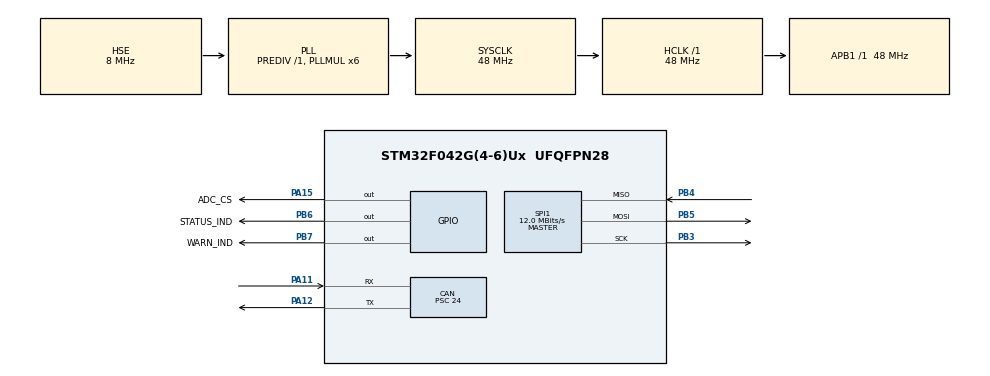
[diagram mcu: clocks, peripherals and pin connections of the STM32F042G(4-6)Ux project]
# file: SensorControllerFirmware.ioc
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CAN.BS1=CAN_BS1_2TQ
CAN.CalculateBaudRate=500000
CAN.CalculateTimeBit=2000
CAN.CalculateTimeQuantum=500.0
CAN.Prescaler=24
Dma.Request0=SPI1_RX
Dma.Request1=SPI1_TX
Dma.SPI1_RX.0.Direction=DMA_PERIPH_TO_MEMORY
Dma.SPI1_RX.0.Instance=DMA1_Channel2
Dma.SPI1_RX.0.MemDataAlignment=DMA_MDATAALIGN_HALFWORD
Dma.SPI1_RX.0.MemInc=DMA_MINC_ENABLE
Dma.SPI1_RX.0.Mode=DMA_NORMAL
Dma.SPI1_RX.0.PeriphDataAlignment=DMA_PDATAALIGN_HALFWORD
Dma.SPI1_RX.0.PeriphInc=DMA_PINC_DISABLE
Dma.SPI1_RX.0.Priority=DMA_PRIORITY_LOW
Dma.SPI1_TX.1.Direction=DMA_MEMORY_TO_PERIPH
Dma.SPI1_TX.1.Instance=DMA1_Channel3
Dma.SPI1_TX.1.MemDataAlignment=DMA_MDATAALIGN_HALFWORD
Dma.SPI1_TX.1.MemInc=DMA_MINC_ENABLE
Dma.SPI1_TX.1.Mode=DMA_NORMAL
Dma.SPI1_TX.1.PeriphDataAlignment=DMA_PDATAALIGN_HALFWORD
Dma.SPI1_TX.1.PeriphInc=DMA_PINC_DISABLE
Dma.SPI1_TX.1.Priority=DMA_PRIORITY_LOW
Mcu.Family=STM32F0
Mcu.Name=STM32F042G(4-6)Ux
Mcu.Package=UFQFPN28
NVIC.CEC_CAN_IRQn=true\:1\:0\:true\:false\:true\:true\:true\:true
NVIC.DMA1_Channel2_3_IRQn=true\:0\:0\:true\:false\:true\:false\:true\:true
NVIC.SPI1_IRQn=true\:0\:0\:true\:false\:true\:true\:true\:true
NVIC.TIM14_IRQn=true\:3\:0\:true\:false\:true\:true\:true\:true
NVIC.TIM2_IRQn=true\:0\:0\:false\:false\:true\:true\:true\:true
NVIC.TIM3_IRQn=true\:0\:0\:false\:false\:true\:true\:true\:true
PA11.Mode=CAN_Activate
PA11.Signal=CAN_RX
PA12.Mode=CAN_Activate
PA12.Signal=CAN_TX
PA13.Mode=Serial_Wire
PA13.Signal=SYS_SWDIO
PA14.Mode=Serial_Wire
PA14.Signal=SYS_SWCLK
PA15.GPIO_Label=ADC_CS
PA15.GPIO_Speed=GPIO_SPEED_FREQ_HIGH
PA15.PinState=GPIO_PIN_SET
PA15.Signal=GPIO_Output
PB3.Mode=Full_Duplex_Master
PB3.Signal=SPI1_SCK
PB4.Mode=Full_Duplex_Master
PB4.Signal=SPI1_MISO
PB5.Mode=Full_Duplex_Master
PB5.Signal=SPI1_MOSI
PB6.GPIO_Label=STATUS_IND
PB6.Signal=GPIO_Output
PB7.GPIO_Label=WARN_IND
PB7.Signal=GPIO_Output
PF0-OSC_IN.Mode=HSE-External-Oscillator
PF0-OSC_IN.Signal=RCC_OSC_IN
PF1-OSC_OUT.Mode=HSE-External-Oscillator
PF1-OSC_OUT.Signal=RCC_OSC_OUT
ProjectManager.HeapSize=0x400
ProjectManager.StackSize=0x800
ProjectManager.TargetToolchain=STM32CubeIDE
RCC.AHBFreq_Value=48000000
RCC.APB1Freq_Value=48000000
RCC.APB1TimFreq_Value=48000000
RCC.HCLKFreq_Value=48000000
RCC.PLLMUL=RCC_PLL_MUL6
RCC.PLLSourceVirtual=RCC_PLLSOURCE_HSE
RCC.SYSCLKFreq_VALUE=48000000
RCC.SYSCLKSource=RCC_SYSCLKSOURCE_PLLCLK
SPI1.BaudRatePrescaler=SPI_BAUDRATEPRESCALER_4
SPI1.CLKPhase=SPI_PHASE_2EDGE
SPI1.CalculateBaudRate=12.0 MBits/s
SPI1.DataSize=SPI_DATASIZE_16BIT
SPI1.Direction=SPI_DIRECTION_2LINES
SPI1.Mode=SPI_MODE_MASTER
SPI1.TIMode=SPI_TIMODE_DISABLE
SPI1.VirtualType=VM_MASTER
TIM14.Period=47999
TIM14.Prescaler=99
TIM2.Period=0
TIM2.Prescaler=63999
TIM3.Period=0
TIM3.Prescaler=63999
VP_SYS_VS_PINREMAP.Mode=PINREMAP
VP_TIM14_VS_ClockSourceINT.Mode=Enable_Timer
VP_TIM2_VS_ClockSourceINT.Mode=Internal
VP_TIM3_VS_ClockSourceINT.Mode=Internal
board=custom

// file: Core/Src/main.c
/* USER CODE BEGIN Header */
/**
  ******************************************************************************
  * @file           : main.c
  * @brief          : Main program body
  ******************************************************************************
  * @attention
  *
  * Copyright (c) 2024 STMicroelectronics.
  * All rights reserved.
  *
  * This software is licensed under terms that can be found in the LICENSE file
  * in the root directory of this software component.
  * If no LICENSE file comes with this software, it is provided AS-IS.
  *
  ******************************************************************************
  */
/* USER CODE END Header */
#include "main.h"

/* USER CODE BEGIN Includes */
#include "ADS1118.h"
#include <memory.h>
#include "config/config.h"
#include "config/pt_config.h"
#include "utils/board_utils.h"
#include "utils/can_utils.h"
#include "stdbool.h"
/* USER CODE END Includes */

/* USER CODE BEGIN PD */
#define TX_ID 0x110

#define ENDPOINT_TEMPERATURE 15
#define ENDPOINT_LED 23
#define ENDPOINT_CALIBRATION 97
/* USER CODE END PD */

CAN_HandleTypeDef hcan;

SPI_HandleTypeDef hspi1;
DMA_HandleTypeDef hdma_spi1_rx;
DMA_HandleTypeDef hdma_spi1_tx;

TIM_HandleTypeDef htim2;
TIM_HandleTypeDef htim3;
TIM_HandleTypeDef htim14;

/* USER CODE BEGIN PV */
PtConfig* PT_A = NULL;
PtConfig* PT_B = NULL;
Ads1118TypeDef adc;
volatile uint8_t start_read_adc = 0;
volatile uint8_t adc_read_cplt = 0;
uint32_t board_id[3];
static uint8_t short_board_id;
bool flash_signal_cmd = 0;
bool adc_reading = false;
bool port_a_read_cplt = false;
bool port_b_read_cplt = false;
bool send_port_a = false;
bool send_port_b = false;
float port_a_val = 0.0f;
float port_b_val = 0.0f;
uint16_t port_a_config = (ADS1118_CONFIG_DEFAULT | (0b101 << ADS1118_CONFIG_BIT_MUX) | (1 << ADS1118_CONFIG_BIT_SS) | (0b000 << 9)) & 0xFBFF;
uint16_t port_b_config = (ADS1118_CONFIG_DEFAULT | (0b111 << ADS1118_CONFIG_BIT_MUX) | (1 << ADS1118_CONFIG_BIT_SS) | (0b000 << 9)) & 0xFBFF;
uint16_t port_a_rx_buf[] = {0, 0};
uint16_t port_b_rx_buf[] = {0, 0};
float v_fs = 5.0f;
float v_range = 4.5f;
uint8_t tx_data[8];
/* USER CODE END PV */

void SystemClock_Config(void);
static void MX_GPIO_Init(void);
static void MX_DMA_Init(void);
static void MX_CAN_Init(void);
static void MX_SPI1_Init(void);
static void MX_TIM14_Init(void);
static void MX_TIM2_Init(void);
static void MX_TIM3_Init(void);
/* USER CODE BEGIN PFP */
uint32_t frequency_to_period_ms(uint32_t frequency);
static void GET_PORT_A_READING(uint16_t config);
static void GET_PORT_B_READING(uint16_t config);
static float CONVERT_ADC_READING(PtConfig *pt, int16_t raw_val);
static void INSERT_FLOAT_TO_TX_DATA(float val);
/* USER CODE END PFP */

/* USER CODE BEGIN 0 */
void send_pt_status_can(uint16_t adc_val, uint8_t short_board_id, CAN_HandleTypeDef* hcan, uint8_t instance_val) {
	uint8_t status_bytes[2];
	uint8_t temp_raw[2];

	memcpy(temp_raw, &adc_val, sizeof(adc_val));
	status_bytes[0] = temp_raw[1];
	status_bytes[1] = temp_raw[0];

	uint8_t sender_id = short_board_id;
    uint8_t target_board_id = SENDER_PAD_CONTROLLER;
    uint8_t msg_type_val = MSG_TYPE_PRESSURE; // Using existing general servo type

    uint32_t base_ext_id_32bit_shifted = build_can_extended_id(sender_id, target_board_id, msg_type_val, instance_val);
    uint32_t base_ext_id_29bit = base_ext_id_32bit_shifted >> 3;
    uint32_t ack_ext_id_29bit = base_ext_id_29bit | CAN_ID_ACK_FLAG_29BIT;
    uint32_t final_ext_id_32bit_shifted_for_send = ack_ext_id_29bit << 3;

    HAL_StatusTypeDef status = send_can_msg(final_ext_id_32bit_shifted_for_send, status_bytes, 2, hcan);

    if (status != HAL_OK) {
        // Handle CAN send error
    }
}
/* USER CODE END 0 */

int main(void)
{

  /* MCU Configuration--------------------------------------------------------*/

  /* Reset of all peripherals, Initializes the Flash interface and the Systick. */
  HAL_Init();

  /* Configure the system clock */
  SystemClock_Config();

  /* Initialize all configured peripherals */
  MX_GPIO_Init();
  MX_DMA_Init();
  MX_CAN_Init();
  MX_SPI1_Init();
  MX_TIM14_Init();
  MX_TIM2_Init();
  MX_TIM3_Init();
  /* USER CODE BEGIN 2 */
  GET_BOARD_UID(board_id);
  short_board_id = GET_SHORT_BOARD_ID(board_id);

  CAN_FilterTypeDef filter;
  filter.FilterActivation = CAN_FILTER_ENABLE;
  filter.FilterBank = 0;
  filter.FilterFIFOAssignment = CAN_FILTER_FIFO0;
  filter.FilterMode = CAN_FILTERMODE_IDMASK;
  filter.FilterScale = CAN_FILTERSCALE_32BIT;

  uint32_t canIdFilter = ((uint32_t)short_board_id << 16);
  canIdFilter |= CAN_ID_EXT;
  uint32_t canIdMask = (0xFFUL << 16);
  canIdMask |= CAN_ID_EXT;
  canIdMask |= CAN_RTR_DATA;
  canIdMask |= (1UL << 31);
  filter.FilterIdHigh = (uint16_t)(canIdFilter >> 16);
  filter.FilterIdLow = (uint16_t)(canIdFilter & 0xFFFF);
  filter.FilterMaskIdHigh = (uint16_t)(canIdMask >> 16);
  filter.FilterMaskIdLow = (uint16_t)(canIdMask & 0xFFFF);

//  filter.FilterIdHigh = (uint16_t)(0x0000);
//  filter.FilterIdLow = (uint16_t)(0x0000);
//  filter.FilterMaskIdHigh = (uint16_t)(0x0000);
//  filter.FilterMaskIdLow = (uint16_t)(0x0000);

    if (HAL_CAN_ConfigFilter(&hcan, &filter) != HAL_OK) {
        Error_Handler();
    }

    if (HAL_CAN_ActivateNotification(&hcan, CAN_IT_RX_FIFO0_MSG_PENDING)) {
      Error_Handler();
    };

    if (HAL_CAN_Start(&hcan) != HAL_OK) {
        Error_Handler();
    }

    STATUS_IND_Toggle();
    HAL_Delay(500);
    STATUS_IND_Toggle();
    HAL_Delay(1000);

  // Configure ADC
  adc.hspi = &hspi1;
  adc.cs_gpio_port = ADC_CS_GPIO_Port;
  adc.cs_pin = ADC_CS_Pin;
  adc.config = port_a_config;
  Ads1118_Configure(&adc);

//  get both pt can ids
  uint32_t pt_1_can_id = GET_PT_CAN_ID(board_id, 1);
  uint32_t pt_2_can_id = GET_PT_CAN_ID(board_id, 2);

  htim2.Init.Period = 0;
  htim3.Init.Period = 0;

  if (pt_1_can_id != -1) {
//	  set pt_1 to either A or B based on its config
	  PtConfig* tempPtConfig = GET_PT_CONFIG(pt_1_can_id);
	  if (tempPtConfig->port == 'A') {
		  PT_A = tempPtConfig;
		  htim2.Init.Period = frequency_to_period_ms(PT_A->frequency);
	  }
	  else if (tempPtConfig->port == 'B') {
		  PT_B = tempPtConfig;
		  htim3.Init.Period = frequency_to_period_ms(PT_B->frequency);
	  }
  }

  if (pt_2_can_id != -1) {
//	  set pt_2 to either A or B based on its config
	  PtConfig* tempPtConfig = GET_PT_CONFIG(pt_2_can_id);
	  if (tempPtConfig->port == 'A') {
		  PT_A = tempPtConfig;
		  htim2.Init.Period = frequency_to_period_ms(PT_A->frequency);
	  }
	  else if (tempPtConfig->port == 'B') {
		  PT_B = tempPtConfig;
		  htim3.Init.Period = frequency_to_period_ms(PT_B->frequency);
	  }
  }
  // Start peripherals
//  HAL_ADC_Start(&hadc);
  HAL_TIM_Base_Start_IT(&htim14);

//  set timer 2 to interrupt at PT_A frequency
  if (htim2.Init.Period != 0) {
	  HAL_TIM_Base_Init(&htim2);
	  HAL_TIM_Base_Start_IT(&htim2);
  }
//  set timer 3 to interrupt at PT_B frequency
  if (htim3.Init.Period != 0) {
  	  HAL_TIM_Base_Init(&htim3);
  	  HAL_TIM_Base_Start_IT(&htim3);
    }
  /* USER CODE END 2 */

  /* Infinite loop */
  /* USER CODE BEGIN WHILE */
//  int16_t buf[] = { 0, 0 };
//  float res = 0.0f;

  uint8_t wasA = 0; // Start with Port A attempt
   bool port_a_is_active = (PT_A != NULL && htim2.Init.Period != 0);
   bool port_b_is_active = (PT_B != NULL && htim3.Init.Period != 0);
 while (1)
  {
//      if (adc_read_cplt && (!HAL_GPIO_ReadPin(GPIOB, GPIO_PIN_4))) {
//    	  // Update ADC config readback
//    	  adc.config_readback = buf[1];
//
//    	   Send measurement over CAN
//          res = (v_fs/(0x7FFF))*(float)buf[0]; // Convert from ADC output to voltage
//          res = 251.493315f * res - 122.744008;
//          send_can_msg((uint8_t*)(&res), sizeof(res));
//
//          adc_read_cplt = 0;
//      }
//
//      if (start_read_adc) {
//    	  // Start new single shot
//        if (Ads1118_Transmit(&adc, (uint32_t*)&buf) != HAL_OK) {
//          Error_Handler();
//        }
//
//         start_read_adc = 0;
//      }

	 if (!wasA) { // Attempt to read Port A
		 if (port_a_is_active) {
			 GET_PORT_A_READING(port_a_config);
		 } else if (port_b_is_active) { // If A is not active but B is, switch to B
			 wasA = 1; // Next iteration will try B
			 // GET_PORT_B_READING(port_b_config); // Or try immediately
		 }
		 // If neither is active, it will do nothing here until flags are set by other means
	 } else { // wasA == 1, Attempt to read Port B
		 if (port_b_is_active) {
			 GET_PORT_B_READING(port_b_config);
		 } else {
			 // Port B is not active, so switch back to A logic
			 wasA = 0;
		 }
	 }

	 if (flash_signal_cmd) {
		 flash_signal_cmd = Tick_SIGNAL(flash_signal_cmd); // Assuming Tick_SIGNAL handles its own logic
	 }

	 if (send_port_a) {
		 if (port_a_is_active) { // Ensure PT_A is valid before using
//			 float data = CONVERT_ADC_READING(PT_A, port_a_val);
//			 INSERT_FLOAT_TO_TX_DATA(data);
//			 // Assuming pt_1_can_id is for PT_A if PT_A was configured from pt_1_can_id
//			 // You might need a more robust way to get the correct CAN ID for PT_A
//			 uint32_t current_pt_a_can_id = (PT_A == GET_PT_CONFIG(pt_1_can_id) && GET_PT_CONFIG(pt_1_can_id)->port == 'A') ? pt_1_can_id : pt_2_can_id;
//			 send_can_msg(current_pt_a_can_id, tx_data, sizeof(data), &hcan);

			 send_pt_status_can(port_a_val, short_board_id, &hcan, 1);
		 }
		 send_port_a = false; // Clear flag regardless
		 if (port_b_is_active) { // Only switch if Port B is a valid target
			 wasA = 1;
		 } else {
			 wasA = 0; // Stay on A (or try A again if A is also the only active port)
		 }
	 }

	 if (send_port_b) {
		 if (port_b_is_active) { // Ensure PT_B is valid before using
//			 float data = CONVERT_ADC_READING(PT_B, port_b_val);
//			 INSERT_FLOAT_TO_TX_DATA(data);
//			 // Assuming pt_2_can_id is for PT_B if PT_B was configured from pt_2_can_id
//			 uint32_t current_pt_b_can_id = (PT_B == GET_PT_CONFIG(pt_2_can_id) && GET_PT_CONFIG(pt_2_can_id)->port == 'B') ? pt_2_can_id : pt_1_can_id;
//			 send_can_msg(current_pt_b_can_id, tx_data, sizeof(data), &hcan);
			 send_pt_status_can(port_b_val, short_board_id, &hcan, 2);
		 }
		 send_port_b = false; // Clear flag regardless
		 wasA = 0; // Always attempt to switch back to A after B
	 }
    /* USER CODE END WHILE */

  }
}

void SystemClock_Config(void)
{
  RCC_OscInitTypeDef RCC_OscInitStruct = {0};
  RCC_ClkInitTypeDef RCC_ClkInitStruct = {0};

  /** Initializes the RCC Oscillators according to the specified parameters
  * in the RCC_OscInitTypeDef structure.
  */
  RCC_OscInitStruct.OscillatorType = RCC_OSCILLATORTYPE_HSE;
  RCC_OscInitStruct.HSEState = RCC_HSE_ON;
  RCC_OscInitStruct.PLL.PLLState = RCC_PLL_ON;
  RCC_OscInitStruct.PLL.PLLSource = RCC_PLLSOURCE_HSE;
  RCC_OscInitStruct.PLL.PLLMUL = RCC_PLL_MUL6;
  RCC_OscInitStruct.PLL.PREDIV = RCC_PREDIV_DIV1;
  if (HAL_RCC_OscConfig(&RCC_OscInitStruct) != HAL_OK)
  {
    Error_Handler();
  }

  /** Initializes the CPU, AHB and APB buses clocks
  */
  RCC_ClkInitStruct.ClockType = RCC_CLOCKTYPE_HCLK|RCC_CLOCKTYPE_SYSCLK
                              |RCC_CLOCKTYPE_PCLK1;
  RCC_ClkInitStruct.SYSCLKSource = RCC_SYSCLKSOURCE_PLLCLK;
  RCC_ClkInitStruct.AHBCLKDivider = RCC_SYSCLK_DIV1;
  RCC_ClkInitStruct.APB1CLKDivider = RCC_HCLK_DIV1;

  if (HAL_RCC_ClockConfig(&RCC_ClkInitStruct, FLASH_LATENCY_1) != HAL_OK)
  {
    Error_Handler();
  }
}

static void MX_CAN_Init(void)
{

  hcan.Instance = CAN;
  hcan.Init.Prescaler = 24;
  hcan.Init.Mode = CAN_MODE_NORMAL;
  hcan.Init.SyncJumpWidth = CAN_SJW_1TQ;
  hcan.Init.TimeSeg1 = CAN_BS1_2TQ;
  hcan.Init.TimeSeg2 = CAN_BS2_1TQ;
  hcan.Init.TimeTriggeredMode = DISABLE;
  hcan.Init.AutoBusOff = DISABLE;
  hcan.Init.AutoWakeUp = DISABLE;
  hcan.Init.AutoRetransmission = DISABLE;
  hcan.Init.ReceiveFifoLocked = DISABLE;
  hcan.Init.TransmitFifoPriority = DISABLE;
  if (HAL_CAN_Init(&hcan) != HAL_OK)
  {
    Error_Handler();
  }

}

static void MX_SPI1_Init(void)
{

  /* SPI1 parameter configuration*/
  hspi1.Instance = SPI1;
  hspi1.Init.Mode = SPI_MODE_MASTER;
  hspi1.Init.Direction = SPI_DIRECTION_2LINES;
  hspi1.Init.DataSize = SPI_DATASIZE_16BIT;
  hspi1.Init.CLKPolarity = SPI_POLARITY_LOW;
  hspi1.Init.CLKPhase = SPI_PHASE_2EDGE;
  hspi1.Init.NSS = SPI_NSS_SOFT;
  hspi1.Init.BaudRatePrescaler = SPI_BAUDRATEPRESCALER_4;
  hspi1.Init.FirstBit = SPI_FIRSTBIT_MSB;
  hspi1.Init.TIMode = SPI_TIMODE_DISABLE;
  hspi1.Init.CRCCalculation = SPI_CRCCALCULATION_DISABLE;
  hspi1.Init.CRCPolynomial = 7;
  hspi1.Init.CRCLength = SPI_CRC_LENGTH_DATASIZE;
  hspi1.Init.NSSPMode = SPI_NSS_PULSE_DISABLE;
  if (HAL_SPI_Init(&hspi1) != HAL_OK)
  {
    Error_Handler();
  }

}

static void MX_TIM2_Init(void)
{

  TIM_ClockConfigTypeDef sClockSourceConfig = {0};
  TIM_MasterConfigTypeDef sMasterConfig = {0};

  htim2.Instance = TIM2;
  htim2.Init.Prescaler = 63999;
  htim2.Init.CounterMode = TIM_COUNTERMODE_UP;
  htim2.Init.Period = 0;
  htim2.Init.ClockDivision = TIM_CLOCKDIVISION_DIV1;
  htim2.Init.AutoReloadPreload = TIM_AUTORELOAD_PRELOAD_DISABLE;
  if (HAL_TIM_Base_Init(&htim2) != HAL_OK)
  {
    Error_Handler();
  }
  sClockSourceConfig.ClockSource = TIM_CLOCKSOURCE_INTERNAL;
  if (HAL_TIM_ConfigClockSource(&htim2, &sClockSourceConfig) != HAL_OK)
  {
    Error_Handler();
  }
  sMasterConfig.MasterOutputTrigger = TIM_TRGO_RESET;
  sMasterConfig.MasterSlaveMode = TIM_MASTERSLAVEMODE_DISABLE;
  if (HAL_TIMEx_MasterConfigSynchronization(&htim2, &sMasterConfig) != HAL_OK)
  {
    Error_Handler();
  }

}

static void MX_TIM3_Init(void)
{

  TIM_ClockConfigTypeDef sClockSourceConfig = {0};
  TIM_MasterConfigTypeDef sMasterConfig = {0};

  htim3.Instance = TIM3;
  htim3.Init.Prescaler = 63999;
  htim3.Init.CounterMode = TIM_COUNTERMODE_UP;
  htim3.Init.Period = 0;
  htim3.Init.ClockDivision = TIM_CLOCKDIVISION_DIV1;
  htim3.Init.AutoReloadPreload = TIM_AUTORELOAD_PRELOAD_DISABLE;
  if (HAL_TIM_Base_Init(&htim3) != HAL_OK)
  {
    Error_Handler();
  }
  sClockSourceConfig.ClockSource = TIM_CLOCKSOURCE_INTERNAL;
  if (HAL_TIM_ConfigClockSource(&htim3, &sClockSourceConfig) != HAL_OK)
  {
    Error_Handler();
  }
  sMasterConfig.MasterOutputTrigger = TIM_TRGO_RESET;
  sMasterConfig.MasterSlaveMode = TIM_MASTERSLAVEMODE_DISABLE;
  if (HAL_TIMEx_MasterConfigSynchronization(&htim3, &sMasterConfig) != HAL_OK)
  {
    Error_Handler();
  }

}

static void MX_TIM14_Init(void)
{

  htim14.Instance = TIM14;
  htim14.Init.Prescaler = 99;
  htim14.Init.CounterMode = TIM_COUNTERMODE_UP;
  htim14.Init.Period = 47999;
  htim14.Init.ClockDivision = TIM_CLOCKDIVISION_DIV1;
  htim14.Init.AutoReloadPreload = TIM_AUTORELOAD_PRELOAD_DISABLE;
  if (HAL_TIM_Base_Init(&htim14) != HAL_OK)
  {
    Error_Handler();
  }

}

static void MX_DMA_Init(void)
{

  /* DMA controller clock enable */
  __HAL_RCC_DMA1_CLK_ENABLE();

  /* DMA interrupt init */
  /* DMA1_Channel2_3_IRQn interrupt configuration */
  HAL_NVIC_SetPriority(DMA1_Channel2_3_IRQn, 0, 0);
  HAL_NVIC_EnableIRQ(DMA1_Channel2_3_IRQn);

}

static void MX_GPIO_Init(void)
{
  GPIO_InitTypeDef GPIO_InitStruct = {0};

  /* GPIO Ports Clock Enable */
  __HAL_RCC_GPIOF_CLK_ENABLE();
  __HAL_RCC_GPIOA_CLK_ENABLE();
  __HAL_RCC_GPIOB_CLK_ENABLE();

  /*Configure GPIO pin Output Level */
  HAL_GPIO_WritePin(ADC_CS_GPIO_Port, ADC_CS_Pin, GPIO_PIN_SET);

  /*Configure GPIO pin Output Level */
  HAL_GPIO_WritePin(GPIOB, STATUS_IND_Pin|WARN_IND_Pin, GPIO_PIN_RESET);

  /*Configure GPIO pin : ADC_CS_Pin */
  GPIO_InitStruct.Pin = ADC_CS_Pin;
  GPIO_InitStruct.Mode = GPIO_MODE_OUTPUT_PP;
  GPIO_InitStruct.Pull = GPIO_NOPULL;
  GPIO_InitStruct.Speed = GPIO_SPEED_FREQ_HIGH;
  HAL_GPIO_Init(ADC_CS_GPIO_Port, &GPIO_InitStruct);

  /*Configure GPIO pins : STATUS_IND_Pin WARN_IND_Pin */
  GPIO_InitStruct.Pin = STATUS_IND_Pin|WARN_IND_Pin;
  GPIO_InitStruct.Mode = GPIO_MODE_OUTPUT_PP;
  GPIO_InitStruct.Pull = GPIO_NOPULL;
  GPIO_InitStruct.Speed = GPIO_SPEED_FREQ_LOW;
  HAL_GPIO_Init(GPIOB, &GPIO_InitStruct);

}

/* USER CODE BEGIN 4 */
float temperature_code_to_temperature(int16_t temperature_code) {
    if (temperature_code & (1 << 14)) {
        temperature_code -= 1;
        temperature_code = ~temperature_code;
    }
    return temperature_code * 0.03125f;
}

//HAL_StatusTypeDef send_can_msg(const uint8_t *data, size_t len) {
//    CAN_TxHeaderTypeDef header;
//    header.IDE = CAN_ID_STD;
//    header.StdId = TX_ID;
//    header.RTR = CAN_RTR_DATA;
//    header.TransmitGlobalTime = DISABLE;
//    header.DLC = len;
//
//    uint32_t mailbox;
//
//    HAL_StatusTypeDef status = HAL_CAN_AddTxMessage(&hcan, &header, data, &mailbox);
//    if (status != HAL_OK) {
//
//    }
//
//    return status;
//}

// In main.c
void HAL_SPI_TxRxCpltCallback(SPI_HandleTypeDef *hspi) {
    // This callback is now ONLY for Ads1118_Transmit (data read) completion.
    HAL_GPIO_WritePin(adc.cs_gpio_port, adc.cs_pin, GPIO_PIN_SET); // De-assert CS pin

	if (hspi->Instance == SPI1) { // Check if it's the correct SPI peripheral
		if (adc.config == port_a_config) {
			port_a_val = port_a_rx_buf[0];       // Actual ADC conversion result
			// adc.config_readback = port_a_rx_buf[1]; // Optional: store/check config read back
			adc_reading = false;
			port_a_read_cplt = true;
		} else if (adc.config == port_b_config) { // Use "else if"
			port_b_val = port_b_rx_buf[0];       // Actual ADC conversion result
			// adc.config_readback = port_b_rx_buf[1]; // Optional: store/check config read back
			adc_reading = false;
			port_b_read_cplt = true;
		}
	}
}

void HAL_TIM_PeriodElapsedCallback(TIM_HandleTypeDef *htim) {

//	if (htim->Instance == TIM14) {
//		start_read_adc = 1;
//		    should_read_adc = 1;
//
//		    float out[2];
//		    uint32_t buf;
//
//		    buf = HAL_ADC_GetValue(&hadc);
//		    out[TS_MCU] = __LL_ADC_CALC_TEMPERATURE(3300, buf, LL_ADC_RESOLUTION_12B);
//
//		  uint16_t adc_config = ADS1118_CONFIG_DEFAULT | (0b100 << ADS1118_CONFIG_BIT_MUX) | (1 << ADS1118_CONFIG_BIT_SS);
//		    if (Ads1118_Transmit(&adc_config, &hspi1, &buf, 1000) != HAL_OK) {
//		        Error_Handler();
//		    }
//		    out[TS_ADC] = temperature_code_to_temperature(buf);
//
//		    send_can_msg((uint8_t*)(&buf), 4);
//	}
	if (htim->Instance == TIM2) {
//		Handle PT_A timer interrupt
		if (port_a_read_cplt) {
			send_port_a = true;
			port_a_read_cplt =  false;
		}
	}
	if (htim->Instance == TIM3) {
//		Handle PT_B timer interrupt
		if (port_b_read_cplt) {
			send_port_b = true;
			port_b_read_cplt =  false;
		}
	}

}

void HAL_CAN_RxFifo0MsgPendingCallback(CAN_HandleTypeDef *hcan)
{
//	STATUS_IND_Toggle();
    CAN_RxHeaderTypeDef RxHeader;
    uint8_t RxData[8];  // Max CAN data length = 8 bytes

    if (HAL_CAN_GetRxMessage(hcan, CAN_RX_FIFO0, &RxHeader, RxData) != HAL_OK)
    {
        Error_Handler();
    }

    // Parse extended ID to extract fields
    uint8_t sender, board_id, msg_type, instance;
    parse_can_extended_id(RxHeader.ExtId, &sender, &board_id, &msg_type, &instance);

    // Check if message is intended for this board
    if (board_id == short_board_id) {
        // Set command based on component type
        switch (msg_type) {

            case MSG_TYPE_LED:
                // Toggle status LED for feedback
                STATUS_IND_Toggle();
                break;

            case MSG_TYPE_FLASH_SIGNAL:
            	flash_signal_cmd = 1;
            	break;
            default:
                // Unknown component type
                break;
        }
    }
}

uint32_t frequency_to_period_ms(uint32_t frequency) {
	return (uint32_t)((1.0f / frequency) * 1000);
}

static void GET_PORT_A_READING(uint16_t config) {
	if (!adc_reading) {
		adc_reading = true;
		adc.config = config;
		Ads1118_Configure(&adc);
		if (Ads1118_Transmit(&adc, port_a_rx_buf) != HAL_OK) {
			Error_Handler();
		}
	}
}
static void GET_PORT_B_READING(uint16_t config) {
	if (!adc_reading) {
		adc_reading = true;
		adc.config = config;
		Ads1118_Configure(&adc);
		if (Ads1118_Transmit(&adc, port_b_rx_buf) != HAL_OK) {
			Error_Handler();
		}
	}
}

static float CONVERT_ADC_READING(PtConfig *pt, int16_t raw_val) {
	float voltage = (v_fs/(0x7FFF))*(float)raw_val;
	float unscaled_val = (((voltage - 0.5f) / v_range) * (pt->max_val - pt->min_val)) + pt->min_val;
	return (unscaled_val * pt->gain) + pt->offset;
}

static void INSERT_FLOAT_TO_TX_DATA(float val) {
	memcpy(&tx_data, &val, sizeof(val));
}
/* USER CODE END 4 */

void Error_Handler(void)
{
  /* USER CODE BEGIN Error_Handler_Debug */
  /* User can add his own implementation to report the HAL error return state */
  __disable_irq();
  while (1)
  {
	  HAL_GPIO_TogglePin(WARN_IND_GPIO_Port, WARN_IND_Pin);
	  HAL_GPIO_TogglePin(STATUS_IND_GPIO_Port, STATUS_IND_Pin);
	  HAL_Delay(100);
  }
  /* USER CODE END Error_Handler_Debug */
}
